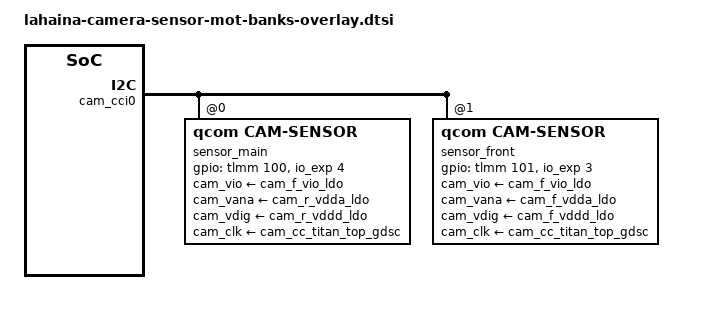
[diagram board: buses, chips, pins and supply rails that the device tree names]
/* Copyright (c) 2020, The Linux Foundation. All rights reserved.
 *
 * This program is free software; you can redistribute it and/or modify
 * it under the terms of the GNU General Public License version 2 and
 * only version 2 as published by the Free Software Foundation.
 *
 * This program is distributed in the hope that it will be useful,
 * but WITHOUT ANY WARRANTY; without even the implied warranty of
 * MERCHANTABILITY or FITNESS FOR A PARTICULAR PURPOSE.  See the
 * GNU General Public License for more details.
 */

#include <dt-bindings/clock/qcom,camcc-lahaina.h>

&tlmm {
	cam_sensor_mclk0_active: cam_sensor_mclk0_active {
		mux {
			pins = "gpio100";
			function = "cam_mclk";
		};

		config {
			pins = "gpio100";
			bias-disable; /* No PULL */
			drive-strength = <8>; /* 8 MA */
		};
	};

	cam_sensor_mclk0_suspend: cam_sensor_mclk0_suspend {
		mux {
			pins = "gpio100";
			function = "cam_mclk";
		};

		config {
			pins = "gpio100";
			bias-pull-down; /* PULL DOWN */
			drive-strength = <2>; /* 2 MA */
		};
	};

	cam_sensor_mclk1_active: cam_sensor_mclk1_active {
		mux {
			pins = "gpio101";
			function = "cam_mclk";
		};

		config {
			pins = "gpio101";
			bias-disable; /* No PULL */
			drive-strength = <2>; /* 2 MA */
		};
	};

	cam_sensor_mclk1_suspend: cam_sensor_mclk1_suspend {
		mux {
			pins = "gpio101";
			function = "cam_mclk";
		};

		config {
			pins = "gpio101";
			bias-pull-down; /* PULL DOWN */
			drive-strength = <2>; /* 2 MA */
		};
	};
};

&soc {
	qcom,cam-res-mgr {
		compatible = "qcom,cam-res-mgr";
		status = "ok";
	};
};

&cam_cci0 {
	sensor_main: qcom,cam-sensor@0 {
		cell-index = <0>;
		compatible = "qcom,cam-sensor";
		csiphy-sd-index = <0>;
		sensor-position-roll = <90>;
		sensor-position-pitch = <0>;
		sensor-position-yaw = <180>;
		/*eeprom-src = <&eeprom_main>;
		actuator-src = <&actuator_main>;
		led-flash-src = <&led_flash_rear_main>;*/
		cam_vio-supply = <&cam_f_vio_ldo>;
		cam_vana-supply = <&cam_r_vdda_ldo>;
		cam_vdig-supply = <&cam_r_vddd_ldo>;
		cam_clk-supply = <&cam_cc_titan_top_gdsc>;
		regulator-names = "cam_vio", "cam_vana", "cam_vdig",
			"cam_clk";
		rgltr-cntrl-support;
		rgltr-min-voltage = <1800000 2950000 1050000 0>;
		rgltr-max-voltage = <1800000 2950000 1050000 0>;
		rgltr-load-current = <31000 150000 420000 0>;
		gpio-no-mux = <0>;
		pinctrl-names = "cam_default", "cam_suspend";
		pinctrl-0 = <&cam_sensor_mclk0_active>;
		pinctrl-1 = <&cam_sensor_mclk0_suspend>;
		gpios = <&tlmm 100 0>,
			<&io_exp 4 0>;
		gpio-reset = <1>;
		gpio-req-tbl-num = <0 1>;
		gpio-req-tbl-flags = <1 0>;
		gpio-req-tbl-label = "CAMIF_MCLK0",
					"CAM_RESET0";
		cci-master = <0>;
		status = "ok";
		clocks = <&clock_camcc CAM_CC_MCLK0_CLK>;
		clock-names = "cam_clk";
		clock-cntl-level = "nominal";
		clock-rates = <24000000>;
	};

	sensor_front: qcom,cam-sensor@1 {
		cell-index = <1>;
		compatible = "qcom,cam-sensor";
		csiphy-sd-index = <1>;
		sensor-position-roll = <270>;
		sensor-position-pitch = <0>;
		sensor-position-yaw = <0>;
		/* eeprom-src = <&eeprom_front>; */
		cam_vio-supply = <&cam_f_vio_ldo>;
		cam_vana-supply = <&cam_f_vdda_ldo>;
		cam_vdig-supply = <&cam_f_vddd_ldo>;
		cam_clk-supply = <&cam_cc_titan_top_gdsc>;
		regulator-names = "cam_vio", "cam_vana", "cam_vdig",
			"cam_clk";
		rgltr-cntrl-support;
		rgltr-min-voltage = <1800000 2800000 1200000 0>;
		rgltr-max-voltage = <1800000 2800000 1200000 0>;
		rgltr-load-current = <3000 50000 140000 0>;
		gpio-no-mux = <0>;
		pinctrl-names = "cam_default", "cam_suspend";
		pinctrl-0 = <&cam_sensor_mclk1_active>;
		pinctrl-1 = <&cam_sensor_mclk1_suspend>;
		gpios = <&tlmm 101 0>,
			<&io_exp 3 0>;
		gpio-reset = <1>;
		gpio-req-tbl-num = <0 1>;
		gpio-req-tbl-flags = <1 0>;
		gpio-req-tbl-label = "CAMIF_MCLK1",
					"CAM_RESET1";
		cci-master = <0>;
		status = "ok";
		clocks = <&clock_camcc CAM_CC_MCLK1_CLK>;
		clock-names = "cam_clk";
		clock-cntl-level = "nominal";
		clock-rates = <24000000>;
	};
};
